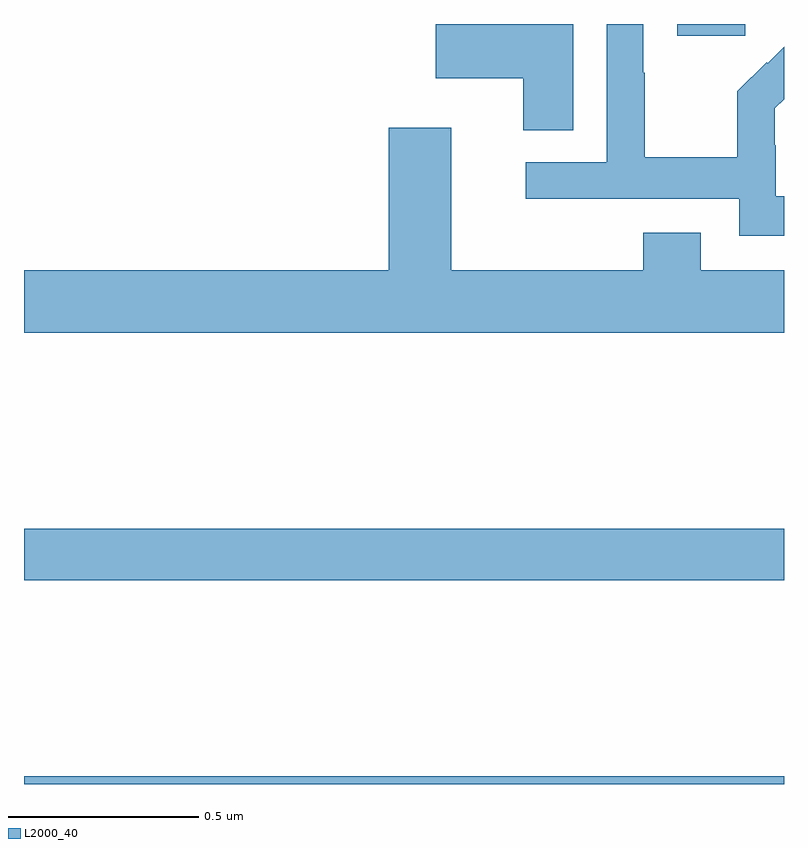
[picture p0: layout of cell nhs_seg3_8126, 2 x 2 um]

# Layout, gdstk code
import gdstk
lib = gdstk.Library(unit=1e-6, precision=1e-09)
def R(c, l, rs):  # rectangles x0, y0, x1, y1
    for r in rs: c.add(gdstk.rectangle(r[:2], r[2:], *l))
def P(c, l, *ps):  # polygons
    for p in ps: c.add(gdstk.Polygon(p, *l))
L2000_40 = (2000, 40)

nhs_seg3_8126 = lib.new_cell('nhs_seg3_8126')
R(nhs_seg3_8126, L2000_40, [(212,694.4,214,694.42), (212,694.936,214,695.072), (213.719,696.369,213.898,696.4)])
P(nhs_seg3_8126, L2000_40, [(214,695.947),(213.978,695.947),(213.978,696.081),(213.976,696.081),(213.976,696.178),(214,696.202),(214,696.34),(213.957,696.297),(213.954,696.3),(213.877,696.223),(213.877,696.049),(213.633,696.049),(213.633,696.272),(213.63,696.272),(213.63,696.4),(213.534,696.4),(213.534,696.036),(213.321,696.036),(213.321,695.94),(213.882,695.94),(213.882,695.843),(214,695.843)],
  [(213.445,696.4),(213.084,696.4),(213.084,696.257),(213.314,696.257),(213.314,696.121),(213.445,696.121)],
  [(214,695.752),(213.781,695.752),(213.781,695.851),(213.629,695.851),(213.629,695.752),(213.124,695.752),(213.124,696.127),(212.96,696.127),(212.96,695.752),(212,695.752),(212,695.588),(214,695.588)])

lib.write_gds('nhs_seg3_8126.gds')
